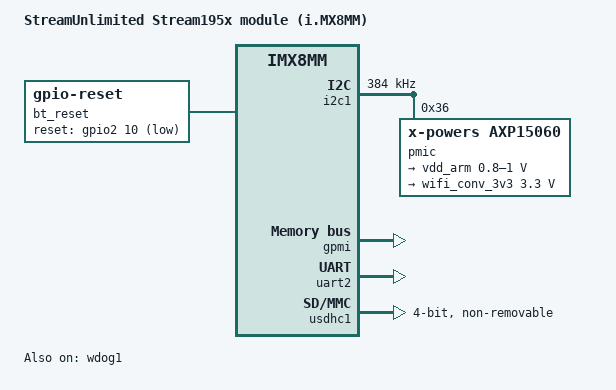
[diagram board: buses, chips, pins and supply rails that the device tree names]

#include "imx8mm-pad.h"
#include "../freescale/fsl-imx8mm.dtsi"

/ {
	model = "StreamUnlimited Stream195x module (i.MX8MM)";
	compatible = "sue,stream195x", "fsl,imx8mm";

	bt_reset: modem-reset {
		compatible = "gpio-reset";
		reset-gpios = <&gpio2 10 GPIO_ACTIVE_LOW>;
		reset-delay-us = <2000>;
		reset-post-delay-ms = <40>;
		#reset-cells = <0>;
	};

	reserved-memory {
		/*
		 * The allocator settings inside fsl-imx8mm.dtsi are
		 * for the NXP reference design which has 2 GiB of RAM.
		 * And this reservation was failing for us, so remove
		 * it to get rid of an error message on boot.
		 */
		/delete-node/linux,cma;
	};

	simple_busfreq: simple-busfreq {
		compatible = "sue,simple-busfreq-imx8mm";

		clocks = <&clk IMX8MM_CLK_NOC_DIV>,
			 <&clk IMX8MM_CLK_AHB_DIV>,
			 <&clk IMX8MM_CLK_MAIN_AXI_SRC>,
			 <&clk IMX8MM_CLK_24M>,
			 <&clk IMX8MM_SYS_PLL2_333M>;
		clock-names = "noc_div",
			      "ahb_div",
			      "main_axi_src",
			      "osc_24m",
			      "sys_pll2_333m";

		interrupts = <GIC_SPI 74 IRQ_TYPE_LEVEL_HIGH>, <GIC_SPI 75 IRQ_TYPE_LEVEL_HIGH>,
			     <GIC_SPI 76 IRQ_TYPE_LEVEL_HIGH>, <GIC_SPI 77 IRQ_TYPE_LEVEL_HIGH>;
	};
};

&A53_0 {
	arm-supply = <&vdd_arm>;
};

&busfreq {
	/*
	 * Disable the NXP busfreq driver because it is way too overcomplicated for
	 * our needs, instead we will use our own, simple driver.
	 */
	status = "disabled";
};

&crypto {
	status = "disabled";
};

&caam_sm {
	status = "disabled";
};

&i2c1 {
	/*
	 * Workaround for:
	 *   e7805: I2C: When the I2C clock speed is configured for 400 kHz, the SCL low period
	 *   violates the I2C spec of 1.3 uS min
	 */
	clock-frequency = <384000>;

	pinctrl-names = "default";
	pinctrl-0 = <&pinctrl_i2c1>;
	status = "okay";

	pmic: axp15060@36 {
		compatible = "x-powers,axp15060";
		reg = <0x36>;

		regulators {
			vdd_arm: dcdc2 {
				regulator-name = "vdd_arm";
				regulator-min-microvolt = <800000>;
				regulator-max-microvolt = <1000000>;
				regulator-boot-on;
				regulator-always-on;
			};

			wifi_conv_3v3: aldo4 {
				regulator-name = "wifi_conv_3v3";
				regulator-min-microvolt = <3300000>;
				regulator-max-microvolt = <3300000>;
				regulator-always-on;
			};
		};
	};
};

&iomuxc {
	imx8mm-s195x-internal {
		pinctrl_gpmi_nand_1: gpmi-nand-1 {
			fsl,pins = <
				MX8MM_IOMUXC_NAND_ALE_RAWNAND_ALE		(PAD_CTL_FAST | PAD_CTL_DSE6x)
				MX8MM_IOMUXC_NAND_CE0_B_RAWNAND_CE0_B		(PAD_CTL_FAST | PAD_CTL_DSE6x)
				MX8MM_IOMUXC_NAND_CLE_RAWNAND_CLE		(PAD_CTL_FAST | PAD_CTL_DSE6x)
				MX8MM_IOMUXC_NAND_DATA00_RAWNAND_DATA00		(PAD_CTL_HYS | PAD_CTL_FAST | PAD_CTL_DSE6x)
				MX8MM_IOMUXC_NAND_DATA01_RAWNAND_DATA01		(PAD_CTL_HYS | PAD_CTL_FAST | PAD_CTL_DSE6x)
				MX8MM_IOMUXC_NAND_DATA02_RAWNAND_DATA02		(PAD_CTL_HYS | PAD_CTL_FAST | PAD_CTL_DSE6x)
				MX8MM_IOMUXC_NAND_DATA03_RAWNAND_DATA03		(PAD_CTL_HYS | PAD_CTL_FAST | PAD_CTL_DSE6x)
				MX8MM_IOMUXC_NAND_DATA04_RAWNAND_DATA04		(PAD_CTL_HYS | PAD_CTL_FAST | PAD_CTL_DSE6x)
				MX8MM_IOMUXC_NAND_DATA05_RAWNAND_DATA05		(PAD_CTL_HYS | PAD_CTL_FAST | PAD_CTL_DSE6x)
				MX8MM_IOMUXC_NAND_DATA06_RAWNAND_DATA06		(PAD_CTL_HYS | PAD_CTL_FAST | PAD_CTL_DSE6x)
				MX8MM_IOMUXC_NAND_DATA07_RAWNAND_DATA07		(PAD_CTL_HYS | PAD_CTL_FAST | PAD_CTL_DSE6x)
				MX8MM_IOMUXC_NAND_DQS_RAWNAND_DQS		(PAD_CTL_FAST | PAD_CTL_DSE6x)
				MX8MM_IOMUXC_NAND_RE_B_RAWNAND_RE_B		(PAD_CTL_FAST | PAD_CTL_DSE6x)
				MX8MM_IOMUXC_NAND_READY_B_RAWNAND_READY_B	(PAD_CTL_PE_UP | PAD_CTL_FAST | PAD_CTL_DSE6x)
				MX8MM_IOMUXC_NAND_WE_B_RAWNAND_WE_B		(PAD_CTL_FAST | PAD_CTL_DSE6x)
				MX8MM_IOMUXC_NAND_WP_B_RAWNAND_WP_B		(PAD_CTL_HYS)
			>;
		};

		pinctrl_i2c1: i2c1grp {
			fsl,pins = <
				MX8MM_IOMUXC_I2C1_SCL_I2C1_SCL			(IOMUX_CONFIG_SION | PAD_CTL_PE_UP | PAD_CTL_HYS | PAD_CTL_FAST | PAD_CTL_DSE6x)
				MX8MM_IOMUXC_I2C1_SDA_I2C1_SDA			(IOMUX_CONFIG_SION | PAD_CTL_PE_UP | PAD_CTL_HYS | PAD_CTL_FAST | PAD_CTL_DSE6x)
			>;
		};

		pinctrl_uart2: uart2grp {
			fsl,pins = <
				MX8MM_IOMUXC_UART2_RXD_UART2_DCE_RX	(PAD_CTL_PE_UP | PAD_CTL_HYS | PAD_CTL_FAST)
				MX8MM_IOMUXC_UART2_TXD_UART2_DCE_TX	(PAD_CTL_PE_UP | PAD_CTL_HYS | PAD_CTL_FAST | PAD_CTL_DSE6x)
				MX8MM_IOMUXC_UART4_RXD_UART2_DCE_CTS_B	(PAD_CTL_PE_UP | PAD_CTL_HYS | PAD_CTL_FAST)
				MX8MM_IOMUXC_UART4_TXD_UART2_DCE_RTS_B	(PAD_CTL_PE_DOWN | PAD_CTL_HYS | PAD_CTL_FAST | PAD_CTL_DSE6x)
				MX8MM_IOMUXC_SD1_RESET_B_GPIO2_IO10	(PAD_CTL_PE_UP | PAD_CTL_HYS)	/* WLAN_BT_REG_ON */
				MX8MM_IOMUXC_SD1_STROBE_GPIO2_IO11	(PAD_CTL_PE_UP | PAD_CTL_HYS)	/* BT_HOST_WAKE */
			>;
		};

		pinctrl_usdhc1: usdhc1grp {
			fsl,pins = <
				MX8MM_IOMUXC_SD1_CLK_USDHC1_CLK		(PAD_CTL_PE_DOWN | PAD_CTL_SLOW | PAD_CTL_DSE1x)
				MX8MM_IOMUXC_SD1_CMD_USDHC1_CMD		(PAD_CTL_PE_UP | PAD_CTL_FAST | PAD_CTL_DSE6x)
				MX8MM_IOMUXC_SD1_DATA0_USDHC1_DATA0	(PAD_CTL_PE_UP | PAD_CTL_HYS | PAD_CTL_FAST | PAD_CTL_DSE6x)
				MX8MM_IOMUXC_SD1_DATA1_USDHC1_DATA1	(PAD_CTL_PE_UP | PAD_CTL_HYS | PAD_CTL_FAST | PAD_CTL_DSE6x)
				MX8MM_IOMUXC_SD1_DATA2_USDHC1_DATA2	(PAD_CTL_PE_UP | PAD_CTL_HYS | PAD_CTL_FAST | PAD_CTL_DSE6x)
				MX8MM_IOMUXC_SD1_DATA3_USDHC1_DATA3	(PAD_CTL_PE_UP | PAD_CTL_HYS | PAD_CTL_FAST | PAD_CTL_DSE6x)
			>;
		};

		pinctrl_wdog: wdoggrp {
			fsl,pins = <
				MX8MM_IOMUXC_GPIO1_IO02_WDOG1_WDOG_B	(PAD_CTL_PE_UP | PAD_CTL_HYS | PAD_CTL_DSE6x)
			>;
		};

		pinctrl_wifi: wifigrp {
			fsl,pins = <
				MX8MM_IOMUXC_SD1_DATA5_GPIO2_IO7	(PAD_CTL_PE_UP | PAD_CTL_HYS)	/* WIFI_IRQ (OOB) */
				MX8MM_IOMUXC_SD1_DATA6_GPIO2_IO8	(PAD_CTL_PE_UP | PAD_CTL_HYS)	/* WLAN_WL_REG_ON */
				MX8MM_IOMUXC_SD1_DATA7_GPIO2_IO9	(PAD_CTL_PE_UP | PAD_CTL_HYS)	/* WLAN_HOST_WAKE */
			>;
		};
	};
};

&gpmi {
	pinctrl-names = "default";
	pinctrl-0 = <&pinctrl_gpmi_nand_1>;
	nand-on-flash-bbt;
	status = "okay";

	/*
	 * These timings were taken from the Stream810 where we are
	 * using the same NAND chip.
	 */
	timings {
		data-setup-ns = <12>;
		data-hold-ns = <11>;
		address-setup-ns = <20>;
		trea-ns = <20>;
		trloh-ns = <5>;
		trhoh-ns = <25>;
	};
};

&uart2 {
	pinctrl-names = "default";
	pinctrl-0 = <&pinctrl_uart2>;
	uart-has-rtscts;
	assigned-clocks = <&clk IMX8MM_CLK_UART2_SRC>;
	assigned-clock-parents = <&clk IMX8MM_SYS_PLL1_80M>;
	/* TODO: Make sure the reset gets toggled on boot */
	resets = <&bt_reset>;
	status = "okay";
};

&usdhc1 {
	/* TODO: check if we maybe need different pinctrl settings for the different speeds */
	pinctrl-names = "default", "state_100mhz", "state_200mhz";
	pinctrl-0 = <&pinctrl_usdhc1>, <&pinctrl_wifi>;
	pinctrl-1 = <&pinctrl_usdhc1>, <&pinctrl_wifi>;
	pinctrl-2 = <&pinctrl_usdhc1>, <&pinctrl_wifi>;
	bus-width = <4>;
	pm-ignore-notify;
	keep-power-in-suspend;
	non-removable;

	/*
	 * This configures the SDIO clocks to run at 187.5 MHz instead of the
	 * default 200 MHz. Main reason is the reduction of EMI by the SDIO
	 * clock.
	 */
	assigned-clocks = <&clk IMX8MM_CLK_USDHC1_DIV>, <&clk IMX8MM_CLK_USDHC1_SRC>;
	assigned-clock-parents = <0>, <&clk IMX8MM_SYS_PLL3_OUT>;
	assigned-clock-rates = <375000000>, <0>;

	status = "okay";
};

&wdog1 {
	pinctrl-names = "default";
	pinctrl-0 = <&pinctrl_wdog>;
	fsl,ext-reset-output;
	status = "okay";
};
